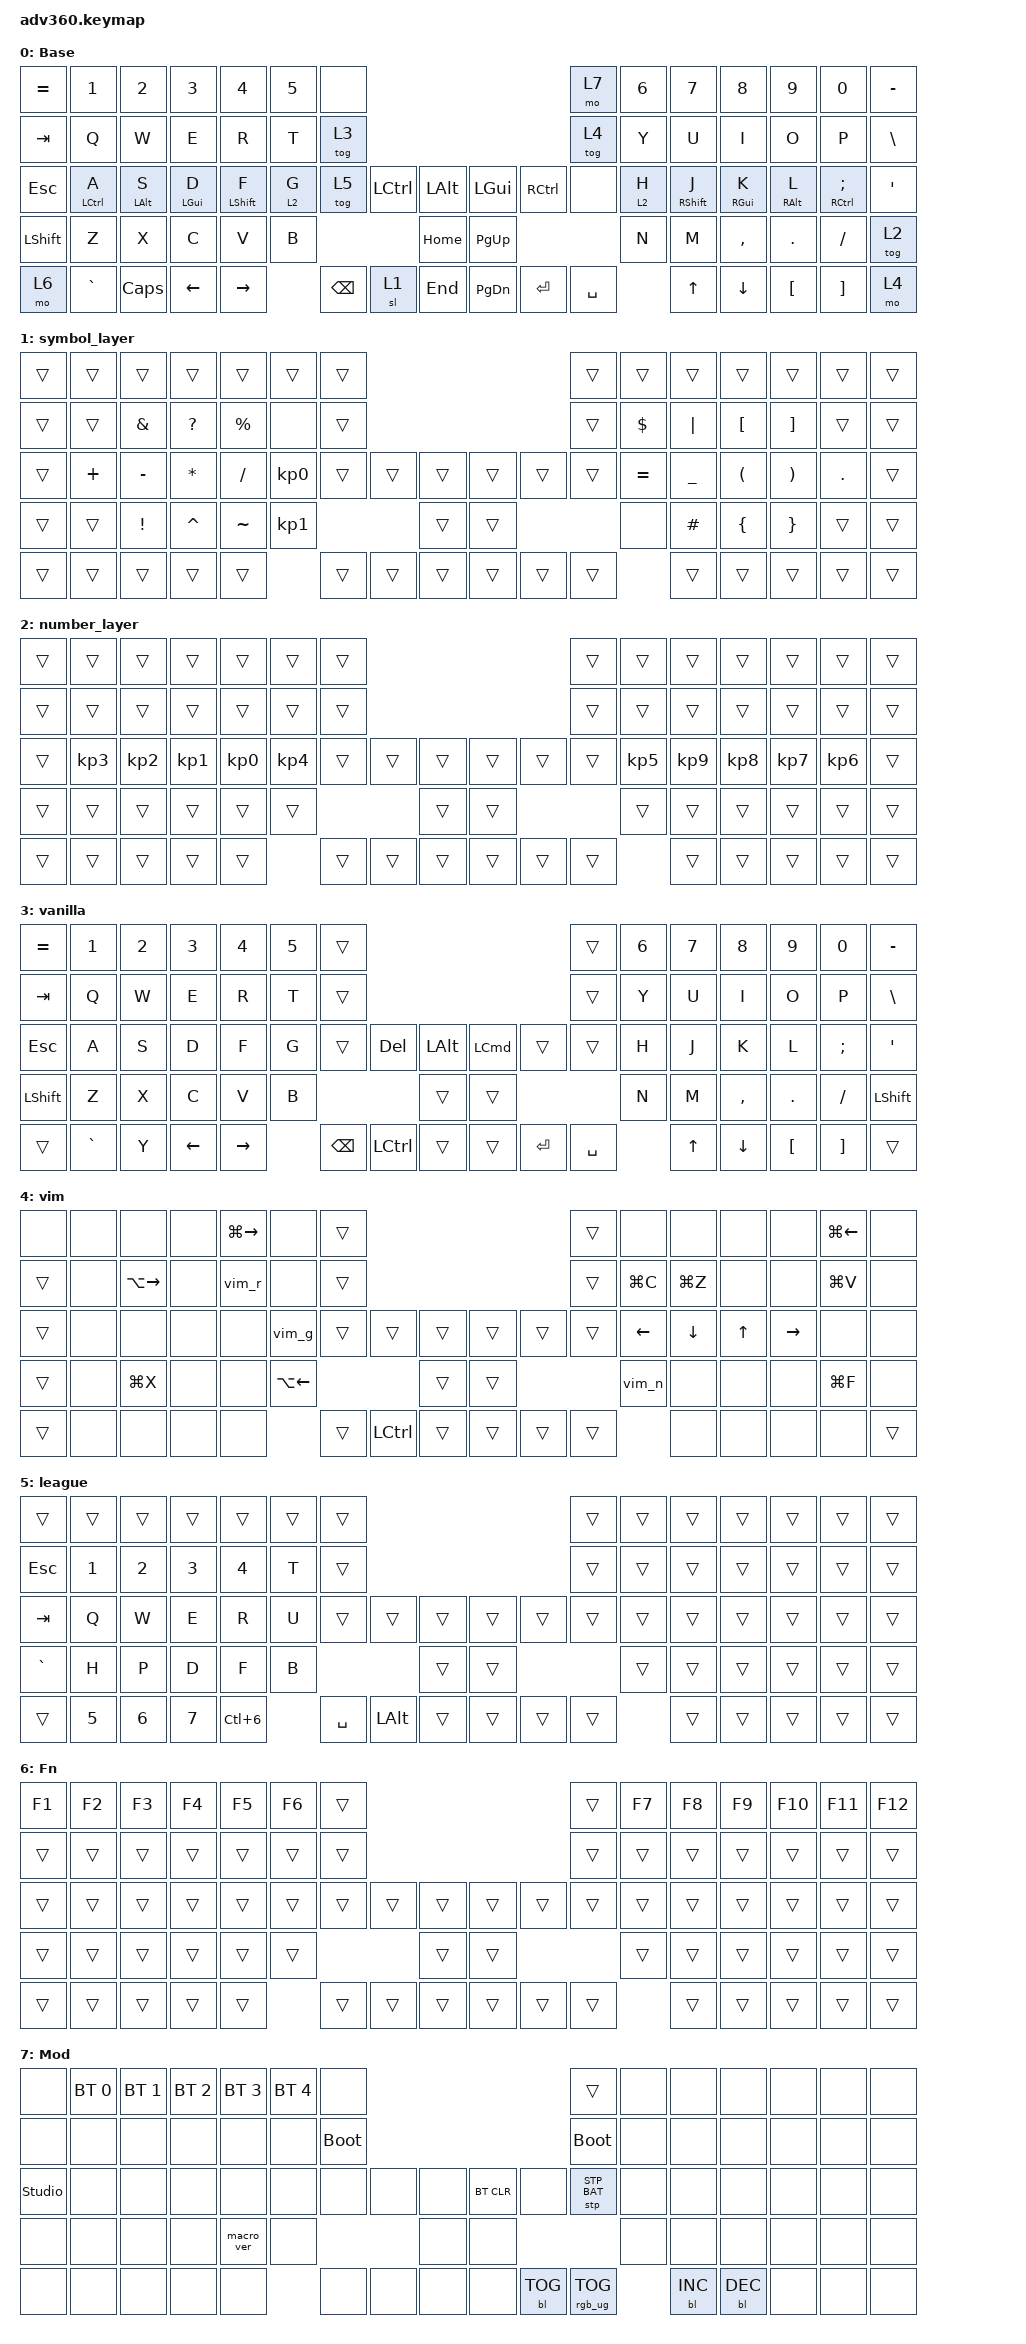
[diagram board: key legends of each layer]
#include <dt-bindings/zmk/stp.h>
#include <behaviors.dtsi>
#include <dt-bindings/zmk/backlight.h>
#include <dt-bindings/zmk/bt.h>
#include <dt-bindings/zmk/keys.h>
#include <dt-bindings/zmk/rgb.h>

/ {
    behaviors {
        #include "macros.dtsi"
      #include "version.dtsi"

        hm: homerow_mods {
            compatible = "zmk,behavior-hold-tap";
            label = "HOMEROW_MODS";
            #binding-cells = <2>;
            tapping-term-ms = <200>;
            quick_tap_ms = <175>;
            flavor = "tap-preferred";
            bindings = <&kp>, <&kp>;
        };

        vim_lower_g: vim_lower_g {
            compatible = "zmk,behavior-tap-dance";
            label = "VIM_LOWER_G";
            #binding-cells = <0>;
            bindings = <&kp G>, <&kp LG(UP_ARROW)>;
        };

        vim_g: vim_g {
            compatible = "zmk,behavior-mod-morph";
            label = "VIM_G";
            bindings = <&vim_lower_g>, <&kp LG(DOWN)>;

            #binding-cells = <0>;
            mods = <(MOD_LSFT|MOD_RSFT)>;
        };

        vim_r: vim_r {
            compatible = "zmk,behavior-mod-morph";
            label = "VIM_R";
            bindings = <&kp R>, <&kp LG(LS(Z))>;

            #binding-cells = <0>;
            mods = <(MOD_LCTL)>;
        };

        vim_n: vim_n {
            compatible = "zmk,behavior-mod-morph";
            label = "VIM_N";
            bindings = <&kp LG(G)>, <&kp LG(LS(G))>;

            #binding-cells = <0>;
            mods = <(MOD_LSFT|MOD_RSFT)>;
        };
    };

    combos {
        compatible = "zmk,combos";

        dw {
            bindings = <&kp RA(BACKSPACE)>;
            key-positions = <31 16>;
            timeout-ms = <100>;
            require-prior-idle-ms = <300>;
            layers = <4>;
        };

        db {
            bindings = <&kp LA(DELETE)>;
            key-positions = <31 51>;
            timeout-ms = <100>;
            require-prior-idle-ms = <300>;
            layers = <4>;
        };
    };

    keymap {
        compatible = "zmk,keymap";

        default_layer {
            display-name = "Base";
            bindings = <
&kp EQUAL  &kp N1       &kp N2          &kp N3          &kp N4            &kp N5   &none                                                         &mo 7      &kp N6   &kp N7             &kp N8           &kp N9           &kp N0                  &kp MINUS
&kp TAB    &kp Q        &kp W           &kp E           &kp R             &kp T    &tog 3                                                        &tog 4     &kp Y    &kp U              &kp I            &kp O            &kp P                   &kp BSLH
&kp ESC    &hm LCTRL A  &hm LEFT_ALT S  &hm LEFT_GUI D  &hm LEFT_SHIFT F  &lt 2 G  &tog 5         &kp LCTRL  &kp LALT      &kp LGUI   &kp RCTRL  &none      &lt 2 H  &hm RIGHT_SHIFT J  &hm RIGHT_GUI K  &hm RIGHT_ALT L  &hm RIGHT_CONTROL SEMI  &kp SQT
&kp LSHFT  &kp Z        &kp X           &kp C           &kp V             &kp B                              &kp HOME      &kp PG_UP                        &kp N    &kp M              &kp COMMA        &kp DOT          &kp FSLH                &tog 2
&mo 6      &kp GRAVE    &kp CAPS        &kp LEFT        &kp RIGHT                  &kp BACKSPACE  &sl 1      &kp END       &kp PG_DN  &kp ENTER  &kp SPACE           &kp UP             &kp DOWN         &kp LBKT         &kp RBKT                &mo 4
            >;
        };

        symbol_layer {
            bindings = <
&trans  &trans    &trans           &trans        &trans       &trans           &trans                                      &trans  &trans      &trans          &trans                &trans                 &trans      &trans
&trans  &trans    &kp AMPERSAND    &kp QUESTION  &kp PERCENT  &none            &trans                                      &trans  &kp DOLLAR  &kp PIPE        &kp LEFT_BRACKET      &kp RIGHT_BRACKET      &trans      &trans
&trans  &kp PLUS  &kp MINUS        &kp ASTERISK  &kp SLASH    &kp KP_N0        &trans  &trans  &trans      &trans  &trans  &trans  &kp EQUAL   &kp UNDERSCORE  &kp LEFT_PARENTHESIS  &kp RIGHT_PARENTHESIS  &kp PERIOD  &trans
&trans  &trans    &kp EXCLAMATION  &kp CARET     &kp TILDE    &kp KP_NUMBER_1                  &trans      &trans                  &none       &kp HASH        &kp LEFT_BRACE        &kp RIGHT_BRACE        &trans      &trans
&trans  &trans    &trans           &trans        &trans                        &trans  &trans  &trans      &trans  &trans  &trans              &trans          &trans                &trans                 &trans      &trans
            >;
        };

        number_layer {
            bindings = <
&trans  &trans     &trans           &trans           &trans           &trans           &trans                                      &trans  &trans           &trans           &trans           &trans     &trans           &trans
&trans  &trans     &trans           &trans           &trans           &trans           &trans                                      &trans  &trans           &trans           &trans           &trans     &trans           &trans
&trans  &kp KP_N3  &kp KP_NUMBER_2  &kp KP_NUMBER_1  &kp KP_NUMBER_0  &kp KP_NUMBER_4  &trans  &trans  &trans      &trans  &trans  &trans  &kp KP_NUMBER_5  &kp KP_NUMBER_9  &kp KP_NUMBER_8  &kp KP_N7  &kp KP_NUMBER_6  &trans
&trans  &trans     &trans           &trans           &trans           &trans                           &trans      &trans                  &trans           &trans           &trans           &trans     &trans           &trans
&trans  &trans     &trans           &trans           &trans                            &trans  &trans  &trans      &trans  &trans  &trans                   &trans           &trans           &trans     &trans           &trans
            >;
        };

        vanilla {
            bindings = <
&kp EQUAL  &kp N1     &kp N2  &kp N3    &kp N4     &kp N5  &trans                                                            &trans     &kp N6  &kp N7  &kp N8     &kp N9    &kp N0    &kp MINUS
&kp TAB    &kp Q      &kp W   &kp E     &kp R      &kp T   &trans                                                            &trans     &kp Y   &kp U   &kp I      &kp O     &kp P     &kp BSLH
&kp ESC    &kp A      &kp S   &kp D     &kp F      &kp G   &trans    &kp DEL    &kp LEFT_ALT      &kp LEFT_COMMAND  &trans   &trans     &kp H   &kp J   &kp K      &kp L     &kp SEMI  &kp SQT
&kp LSHFT  &kp Z      &kp X   &kp C     &kp V      &kp B                        &trans            &trans                                &kp N   &kp M   &kp COMMA  &kp DOT   &kp FSLH  &kp LSHFT
&trans     &kp GRAVE  &kp Y   &kp LEFT  &kp RIGHT          &kp BSPC  &kp LCTRL  &trans            &trans            &kp RET  &kp SPACE          &kp UP  &kp DOWN   &kp LBKT  &kp RBKT  &trans
            >;
        };

        vim {
            bindings = <
&none   &none  &none          &none  &kp LG(RIGHT)  &none         &trans                                         &trans  &none      &none      &none   &none      &kp LG(LEFT)  &none
&trans  &none  &kp LA(RIGHT)  &none  &vim_r         &none         &trans                                         &trans  &kp LG(C)  &kp LG(Z)  &none   &none      &kp LG(V)     &none
&trans  &none  &none          &none  &none          &vim_g        &trans  &trans     &trans      &trans  &trans  &trans  &kp LEFT   &kp DOWN   &kp UP  &kp RIGHT  &none         &none
&trans  &none  &kp LG(X)      &none  &none          &kp LA(LEFT)                     &trans      &trans                  &vim_n     &none      &none   &none      &kp LG(F)     &none
&trans  &none  &none          &none  &none                        &trans  &kp LCTRL  &trans      &trans  &trans  &trans             &none      &none   &none      &none         &trans
            >;
        };

        league {
            bindings = <
&trans      &trans        &trans        &trans        &trans            &trans  &trans                                           &trans  &trans  &trans  &trans  &trans  &trans  &trans
&kp ESCAPE  &kp NUMBER_1  &kp NUMBER_2  &kp N3        &kp N4            &kp T   &trans                                           &trans  &trans  &trans  &trans  &trans  &trans  &trans
&kp TAB     &kp Q         &kp W         &kp E         &kp R             &kp U   &trans     &trans    &trans      &trans  &trans  &trans  &trans  &trans  &trans  &trans  &trans  &trans
&kp GRAVE   &kp H         &kp P         &kp D         &kp F             &kp B                        &trans      &trans                  &trans  &trans  &trans  &trans  &trans  &trans
&trans      &kp NUMBER_5  &kp NUMBER_6  &kp NUMBER_7  &kp LC(NUMBER_6)          &kp SPACE  &kp LALT  &trans      &trans  &trans  &trans          &trans  &trans  &trans  &trans  &trans
            >;
        };

        fn {
            display-name = "Fn";
            bindings = <
&kp F1  &kp F2  &kp F3  &kp F4  &kp F5  &kp F6  &trans                                      &trans  &kp F7  &kp F8  &kp F9  &kp F10  &kp F11  &kp F12
&trans  &trans  &trans  &trans  &trans  &trans  &trans                                      &trans  &trans  &trans  &trans  &trans   &trans   &trans
&trans  &trans  &trans  &trans  &trans  &trans  &trans  &trans  &trans      &trans  &trans  &trans  &trans  &trans  &trans  &trans   &trans   &trans
&trans  &trans  &trans  &trans  &trans  &trans                  &trans      &trans                  &trans  &trans  &trans  &trans   &trans   &trans
&trans  &trans  &trans  &trans  &trans          &trans  &trans  &trans      &trans  &trans  &trans          &trans  &trans  &trans   &trans   &trans
            >;
        };

        mod {
            display-name = "Mod";
            bindings = <
&none           &bt BT_SEL 0  &bt BT_SEL 1  &bt BT_SEL 2  &bt BT_SEL 3  &bt BT_SEL 4  &none                                                  &trans           &none  &none       &none       &none  &none  &none
&none           &none         &none         &none         &none         &none         &bootloader                                            &bootloader      &none  &none       &none       &none  &none  &none
&studio_unlock  &none         &none         &none         &none         &none         &none        &none  &none      &bt BT_CLR  &none       &stp STP_BAT     &none  &none       &none       &none  &none  &none
&none           &none         &none         &none         &macro_ver    &none                             &none      &none                                    &none  &none       &none       &none  &none  &none
&none           &none         &none         &none         &none                       &none        &none  &none      &none       &bl BL_TOG  &rgb_ug RGB_TOG         &bl BL_INC  &bl BL_DEC  &none  &none  &none
            >;
        };
    };
};
